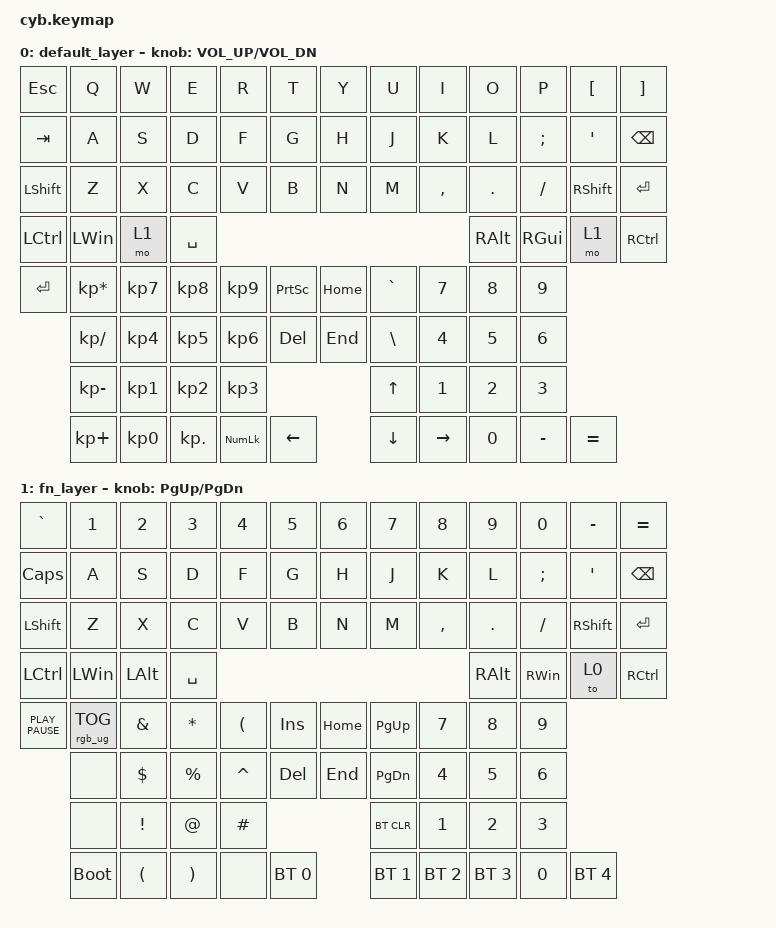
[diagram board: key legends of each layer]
/*
 * Copyright (c) 2020 The ZMK Contributors
 *
 * SPDX-License-Identifier: MIT 
 */

#include <behaviors.dtsi>
#include <dt-bindings/zmk/bt.h>
#include <dt-bindings/zmk/keys.h>
#include <dt-bindings/zmk/rgb.h>

/ {
    keymap0: keymap {
        compatible = "zmk,keymap";

        default_layer {
            // --------------------------------------------------------------------------------------------------------------------------------------------------------------
            //  | TAB  |  Q  |  W  |  E  |  R  |  T  |  Y  |  U  |  I  |  O  |  P  |     [    |   ]   |
            //  | CAPS  |  A  |  S  |  D  |  F  |  G  |  H  |  J  |  K  |  L  |  ;  |     '   |  BKSP |
            //  |  SHIFT  |  Z  |  X  |  C  |  V  |  B  |  N  |  M  |  ,  |  .  |  /  | SHIFT |   1   |
            //  |  CTL  |  fn  |  ALT  |           SPACE              |  ALT  |  CTL  |   1   |   1   |
            //  |  1  ||  1  ||  2  |  3  |   4  ||  5  |  6  |  7  ||  8  |  9  |  1  |
            //         |  1  ||  2  |  3  |   4  ||  5  |  6  |  7  ||  8  |  9  |  1  |
            //         |  1  ||  2  |  3  |   4  |      |  6  |      |  8  |  9  |  1  |
            //         |  1  ||  2  |  3  |   4  ||  5  |  6  |  7  ||  8  |  9  |  1  |
            // --------------------------------------------------------------------------------------------------------------------------------------------------------------

            bindings = <
&kp ESC           &kp Q          &kp W         &kp E    &kp R    &kp T          &kp Y            &kp U         &kp I          &kp O          &kp P          &kp LBKT   &kp RBKT
&kp TAB           &kp A          &kp S         &kp D    &kp F    &kp G          &kp H            &kp J         &kp K          &kp L          &kp SEMI       &kp SQT    &kp BSPC
&kp LSHFT         &kp Z          &kp X         &kp C    &kp V    &kp B          &kp N            &kp M         &kp COMMA      &kp DOT        &kp FSLH       &kp RSHFT  &kp ENTER
&kp LCTRL         &kp LEFT_WIN   &mo 1                    &kp SPACE                                                    &kp RIGHT_ALT  &kp RIGHT_GUI  &mo 1      &kp RCTRL
&kp ENTER         &kp KP_MULTIPLY &kp KP_N7    &kp KP_N8   &kp KP_N9   &kp PSCRN      &kp HOME  &kp GRAVE  &kp N7         &kp N8         &kp N9
                  &kp KP_DIVIDE  &kp KP_N4     &kp KP_N5   &kp KP_N6   &kp DELETE     &kp END    &kp BACKSLASH   &kp NUMBER_4   &kp N5         &kp N6
                  &kp KP_MINUS   &kp KP_N1     &kp KP_N2   &kp KP_N3                  &kp UP                         &kp N1         &kp N2         &kp N3
                  &kp KP_PLUS    &kp KP_N0     &kp KP_DOT  &kp KP_NUMLOCK &kp LEFT       &kp DOWN         &kp RIGHT     &kp N0  &kp MINUS         &kp EQUAL
            >;

            // 定义旋钮

            sensor-bindings = <&inc_dec_kp C_VOL_UP C_VOL_DN>;

            // 定义旋钮
        };

        fn_layer {
            // --------------------------------------------------------------------------------------------------------------------------------------------------------------
            //  | TAB  |  Q  |  W  |  E  |  R  |  T  |  Y  |  U  |  I  |  O  |  P  |     [    |   ]   |
            //  | CAPS  |  A  |  S  |  D  |  F  |  G  |  H  |  J  |  K  |  L  |  ;  |     '   |  BKSP |
            //  |  SHIFT  |  Z  |  X  |  C  |  V  |  B  |  N  |  M  |  ,  |  .  |  /  | SHIFT |   1   |
            //  |  CTL  |  fn  |  ALT  |           SPACE              |  ALT  |  CTL  |   1   |   1   |
            //  |  1  ||  2  ||  2  |  3  |   4  ||  5  |  6  |  7  ||  8  |  9  |  1  |
            //         |  1  ||  2  |  3  |   4  ||  5  |  6  |  7  ||  8  |  9  |  1  |
            //         |  1  ||  2  |  3  |   4  |      |  6  |      |  8  |  9  |  1  |
            //         |  1  ||  2  |  3  |   4  ||  5  |  6  |  7  ||  8  |  9  |  1  |
            // --------------------------------------------------------------------------------------------------------------------------------------------------------------

            bindings = <
&kp GRAVE         &kp N1           &kp N2           &kp N3           &kp N4  &kp N5         &kp N6         &kp N7          &kp N8         &kp N9     &kp N0         &kp MINUS   &kp EQUAL
&kp CLCK          &kp A            &kp S            &kp D            &kp F  &kp G         &kp H         &kp J          &kp K         &kp L     &kp SEMI      &kp SQT    &kp BSPC
&kp LSHFT         &kp Z            &kp X            &kp C            &kp V  &kp B         &kp N         &kp M          &kp COMMA     &kp DOT   &kp FSLH      &kp RSHFT  &kp ENTER
&kp LCTRL         &kp LEFT_WIN     &kp LALT                                 &kp SPACE                                                &kp RALT  &kp RWIN      &to 0      &kp RIGHT_CONTROL
&kp K_PLAY_PAUSE  &rgb_ug RGB_TOG  &kp AMPERSAND    &kp ASTERISK   &kp LEFT_PARENTHESIS  &kp INS       &kp HOME      &kp PAGE_UP    &kp N7        &kp N8    &kp N9
                  &none            &kp DOLLAR     &kp PERCENT   &kp CARET     &kp DELETE    &kp END       &kp PAGE_DOWN  &kp N4        &kp N5    &kp N6
                  &none            &kp EXCLAMATION &kp AT_SIGN   &kp HASH               &bt BT_CLR                   &kp N1        &kp N2    &kp N3
                  &bootloader      &kp LEFT_PARENTHESIS     &kp RIGHT_PARENTHESIS  &none  &bt BT_SEL 0  &bt BT_SEL 1  &bt BT_SEL 2   &bt BT_SEL 3  &kp N0    &bt BT_SEL 4
            >;

            // 定义旋钮

            sensor-bindings = <&inc_dec_kp PAGE_UP PAGE_DOWN>;

            // 定义旋钮
        };
    };
};
